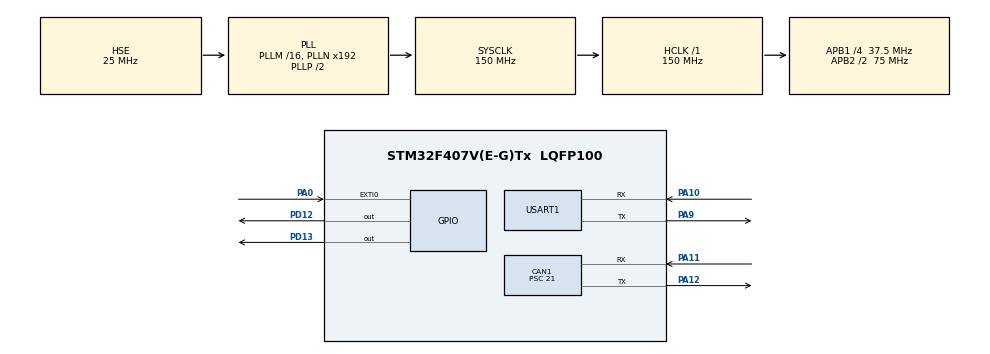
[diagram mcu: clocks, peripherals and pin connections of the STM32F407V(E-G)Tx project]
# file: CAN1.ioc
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CAN1.BS1=CAN_BS1_1TQ
CAN1.BS2=CAN_BS2_1TQ
CAN1.CalculateBaudRate=595238
CAN1.CalculateTimeBit=1680
CAN1.CalculateTimeQuantum=560.0
CAN1.Prescaler=21
Mcu.Family=STM32F4
Mcu.Name=STM32F407V(E-G)Tx
Mcu.Package=LQFP100
NVIC.CAN1_RX0_IRQn=true\:0\:0\:false\:false\:true\:true\:true\:true
NVIC.CAN1_TX_IRQn=true\:0\:0\:false\:false\:true\:true\:true\:true
NVIC.EXTI0_IRQn=true\:0\:0\:false\:false\:true\:true\:true\:true
NVIC.PriorityGroup=NVIC_PRIORITYGROUP_4
NVIC.USART1_IRQn=true\:0\:0\:false\:false\:true\:true\:true\:true
PA0-WKUP.GPIO_ModeDefaultEXTI=GPIO_MODE_IT_RISING
PA0-WKUP.Signal=GPXTI0
PA10.Mode=Asynchronous
PA10.Signal=USART1_RX
PA11.Mode=CAN_Activate
PA11.Signal=CAN1_RX
PA12.Mode=CAN_Activate
PA12.Signal=CAN1_TX
PA13.Mode=Serial_Wire
PA13.Signal=SYS_JTMS-SWDIO
PA14.Mode=Serial_Wire
PA14.Signal=SYS_JTCK-SWCLK
PA9.Mode=Asynchronous
PA9.Signal=USART1_TX
PD12.Signal=GPIO_Output
PD13.Signal=GPIO_Output
PH0-OSC_IN.Mode=HSE-External-Oscillator
PH0-OSC_IN.Signal=RCC_OSC_IN
PH1-OSC_OUT.Mode=HSE-External-Oscillator
PH1-OSC_OUT.Signal=RCC_OSC_OUT
ProjectManager.HeapSize=0x200
ProjectManager.StackSize=0x400
ProjectManager.TargetToolchain=STM32CubeIDE
RCC.48MHZClocksFreq_Value=75000000
RCC.AHBFreq_Value=150000000
RCC.APB1CLKDivider=RCC_HCLK_DIV4
RCC.APB1Freq_Value=37500000
RCC.APB1TimFreq_Value=75000000
RCC.APB2CLKDivider=RCC_HCLK_DIV2
RCC.APB2Freq_Value=75000000
RCC.APB2TimFreq_Value=150000000
RCC.CortexFreq_Value=150000000
RCC.HCLKFreq_Value=150000000
RCC.HSE_VALUE=25000000
RCC.HSI_VALUE=16000000
RCC.LSE_VALUE=32768
RCC.PLLSourceVirtual=RCC_PLLSOURCE_HSE
RCC.SYSCLKFreq_VALUE=150000000
RCC.SYSCLKSource=RCC_SYSCLKSOURCE_PLLCLK
RCC.VCOOutputFreq_Value=300000000
USART1.VirtualMode=VM_ASYNC
board=custom

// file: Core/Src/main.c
/* USER CODE BEGIN Header */
/**
  ******************************************************************************
  * @file           : main.c
  * @brief          : Main program body
  ******************************************************************************
  * @attention
  *
  * Copyright (c) 2023 STMicroelectronics.
  * All rights reserved.
  *
  * This software is licensed under terms that can be found in the LICENSE file
  * in the root directory of this software component.
  * If no LICENSE file comes with this software, it is provided AS-IS.
  *
  ******************************************************************************
  */
/* USER CODE END Header */
#include "main.h"

CAN_HandleTypeDef hcan1;

UART_HandleTypeDef huart1;

/* USER CODE BEGIN PV */
/* FORMAT OF COMMAND */
	/* CMD related to button
	 	 * syntax: ID --- 0xFF(pressed)
	 	 * example: "7EFF" ---> button of board with ID 0x7E is pressed
	 */
	/* CMD related to led
	 	 * syntax: ID --- 0x01(LED 12) / 0x02(LED 13) --- 0x01(ON) / 0x00(OFF)
	 	 * example: "7E0101" ---> board with ID 0x7E chooses led 12 to turn on
	*/

uint32_t TxMailbox;				// carry the header and data message, which will be sent to the CAN bus

CAN_RxHeaderTypeDef RxHeader;	// will be used to store the header information of other devices
CAN_TxHeaderTypeDef TxHeader;	// will be used to store the header information of this device

uint8_t TxData[8];				// is used to store transmitted data
uint8_t RxData[8];				// is used to store received data

uint8_t flagRx_CAN;				// flagRx_CAN is marked when receiving data on CAN bus
uint8_t flagRx_UART;			// flagRx_CAN is marked when receiving data on UART

uint8_t UARTbuffer[8];			// store command received from UART

uint8_t mess_request[100]  = "Board 1 sends request to ";

uint8_t mess_chooseLed12[] = "Choose LED 12\n";
uint8_t mess_chooseLed13[] = "Choose LED 13\n";

uint8_t mess_turnOn[]  = "Turn ON\n";
uint8_t mess_turnOff[] = "Turn OFF\n";

uint8_t mess_btn1[100] = "Board 1 pressed\n";
uint8_t mess_btn2[100] = "Board 2 pressed\n";
uint8_t mess_btn3[100] = "Board 3 pressed\n";
uint8_t mess_btn4[100] = "Board 4 pressed\n";
/* USER CODE END PV */

void SystemClock_Config(void);
static void MX_GPIO_Init(void);
static void MX_CAN1_Init(void);
static void MX_USART1_UART_Init(void);

/* USER CODE BEGIN 0 */
void HAL_CAN_RxFifo0MsgPendingCallback(CAN_HandleTypeDef *hcan)		/* callback when receiving data on CAN bus */
{
	HAL_CAN_GetRxMessage(&hcan1, CAN_RX_FIFO0, &RxHeader, RxData);
    flagRx_CAN = 0x01;
}

void HAL_GPIO_EXTI_Callback(uint16_t GPIO_Pin)						/* callback when button is pressed */
{
	if (GPIO_Pin == GPIO_PIN_0)
	{
		/* data is transmitted */
		TxData[0] = 0x7E;	// its own ID
		TxData[1] = 0xFF;	// button is pressed

		/* transmit message on the CAN bus */
		if (HAL_CAN_AddTxMessage(&hcan1, &TxHeader, TxData, &TxMailbox) != HAL_OK)
			Error_Handler();

		// its own monitor displays information
		HAL_UART_Transmit_IT(&huart1, mess_btn1, sizeof(mess_btn1));
	}
}

void HAL_UART_RxCpltCallback(UART_HandleTypeDef *huart)				/* callback when receiving data from its own monitor */
{
	if (huart->Instance == huart1.Instance)
	{
		HAL_UART_Receive_IT(&huart1, UARTbuffer, 3);									// active for next interrupt

		flagRx_UART = 0x01;																// mark

		if (HAL_CAN_AddTxMessage(&hcan1, &TxHeader, UARTbuffer, &TxMailbox) != HAL_OK)	// transmit that data on CAN bus
			Error_Handler();

		if (UARTbuffer[0] == 0x7E)														// control its own led
		{
			switch (UARTbuffer[1])
			{
				case 0x01: 																// choose led 12
					if (UARTbuffer[2] == 0x01)											// turn on
						HAL_GPIO_WritePin(GPIOD, GPIO_PIN_12, GPIO_PIN_SET);
					else if (UARTbuffer[2] == 0x00)										// turn off
						HAL_GPIO_WritePin(GPIOD, GPIO_PIN_12, GPIO_PIN_RESET);
					break;
				case 0x02: 																// choose led 13
					if (UARTbuffer[2] == 0x01)											// turn on
						HAL_GPIO_WritePin(GPIOD, GPIO_PIN_13, GPIO_PIN_SET);
					else if (UARTbuffer[2] == 0x00)										// turn off
						HAL_GPIO_WritePin(GPIOD, GPIO_PIN_13, GPIO_PIN_RESET);
					break;
			}
		}
	}
}

void NotifyLed(void)		/* display information about led of other devices on the monitor */
{
	HAL_Delay(200);
	if (RxData[1] == 0x01)
		HAL_UART_Transmit_IT(&huart1, mess_chooseLed12, sizeof(mess_chooseLed12));
	else if (RxData[1] == 0x02)
		HAL_UART_Transmit_IT(&huart1, mess_chooseLed13, sizeof(mess_chooseLed13));

	HAL_Delay(200);
	if (RxData[2] == 0x01)
		HAL_UART_Transmit_IT(&huart1, mess_turnOn, sizeof(mess_turnOn));
	else if (RxData[2] == 0x00)
		HAL_UART_Transmit_IT(&huart1, mess_turnOff, sizeof(mess_turnOff));
}

void ActiveLed(void)		/* display information and control its own led on the monitor */
{
	switch (RxData[1])
	{
		case 0x01:
			HAL_Delay(200);
			HAL_UART_Transmit_IT(&huart1, mess_chooseLed12, sizeof(mess_chooseLed12));

			HAL_Delay(200);
			if (RxData[2] == 0x01) {
				HAL_GPIO_WritePin(GPIOD, GPIO_PIN_12, GPIO_PIN_SET);
				HAL_UART_Transmit_IT(&huart1, mess_turnOn, sizeof(mess_turnOn));
			}
			else if(RxData[2] == 0x00) {
				HAL_GPIO_WritePin(GPIOD, GPIO_PIN_12, GPIO_PIN_RESET);
				HAL_UART_Transmit_IT(&huart1, mess_turnOff, sizeof(mess_turnOff));
			}
			break;

		case 0x02:
			HAL_Delay(200);
			HAL_UART_Transmit_IT(&huart1, mess_chooseLed13, sizeof(mess_chooseLed13));

			HAL_Delay(200);
			if (RxData[2] == 0x01) {
				HAL_GPIO_WritePin(GPIOD, GPIO_PIN_13, GPIO_PIN_SET);
				HAL_UART_Transmit_IT(&huart1, mess_turnOn, sizeof(mess_turnOn));
			}
			else if (RxData[2] == 0x00) {
				HAL_GPIO_WritePin(GPIOD, GPIO_PIN_13, GPIO_PIN_RESET);
				HAL_UART_Transmit_IT(&huart1, mess_turnOff, sizeof(mess_turnOff));
			}
			break;
	}
}
/* USER CODE END 0 */

int main(void)
{
  /* USER CODE BEGIN 1 */
	TxHeader.StdId = 0x7E;
	TxHeader.DLC = 8;
	TxHeader.IDE = CAN_ID_STD;
	TxHeader.RTR = CAN_RTR_DATA;
  /* USER CODE END 1 */

  /* MCU Configuration--------------------------------------------------------*/

  /* Reset of all peripherals, Initializes the Flash interface and the Systick. */
  HAL_Init();

  /* Configure the system clock */
  SystemClock_Config();

  /* Initialize all configured peripherals */
  MX_GPIO_Init();
  MX_CAN1_Init();
  MX_USART1_UART_Init();
  /* USER CODE BEGIN 2 */
  HAL_CAN_Start(&hcan1);												// start the CAN

  HAL_CAN_ActivateNotification(&hcan1, CAN_IT_RX_FIFO0_MSG_PENDING);	// activate notification of receiving data

  HAL_UART_Receive_IT(&huart1, UARTbuffer, 3);							// receive data from its own monitor
  /* USER CODE END 2 */

  /* Infinite loop */
  /* USER CODE BEGIN WHILE */
  while (1)
  {
	  /* ------------------------- when receiving data on UART ------------------------- */
	  if (flagRx_UART == 0x01)
	  {
		  HAL_UART_Transmit_IT(&huart1, mess_request, sizeof(mess_request));		// this device sends request to other ones
		  HAL_Delay(200);

		  if (UARTbuffer[0] == 0x7E) {												/* select device */
			  uint8_t mess[] = "Board 1\n";
			  HAL_UART_Transmit_IT(&huart1, mess, sizeof(mess));
		  }
		  else if (UARTbuffer[0] == 0x8E) {
			  uint8_t mess[] = "Board 2\n";
			  HAL_UART_Transmit_IT(&huart1, mess, sizeof(mess));
		  }
		  else if (UARTbuffer[0] == 0x9E) {
			  uint8_t mess[] = "Board 3\n";
			  HAL_UART_Transmit_IT(&huart1, mess, sizeof(mess));
		  }
		  else if (UARTbuffer[0] == 0x6E) {
			  uint8_t mess[] = "Board 4\n";
			  HAL_UART_Transmit_IT(&huart1, mess, sizeof(mess));
		  }
		  HAL_Delay(100);

		  if (UARTbuffer[1] == 0x01)												/* display info of chosen led */
			  HAL_UART_Transmit_IT(&huart1, mess_chooseLed12, sizeof(mess_chooseLed12));
		  else if (UARTbuffer[1] == 0x02)
			  HAL_UART_Transmit_IT(&huart1, mess_chooseLed13, sizeof(mess_chooseLed13));
		  HAL_Delay(100);

		  if (UARTbuffer[2] == 0x01)												/* display info of action */
			  HAL_UART_Transmit_IT(&huart1, mess_turnOn, sizeof(mess_turnOn));
		  else if (UARTbuffer[2] == 0x00)
			  HAL_UART_Transmit_IT(&huart1, mess_turnOff, sizeof(mess_turnOff));

		  flagRx_UART = 0;															// clear flag
	  }

	  /* ------------------------- when receiving data on CAN bus ------------------------- */
	  if (flagRx_CAN == 0x01)
	  {
		  /* ---------------- handle command related to led ---------------- */
		  if (RxData[1] != 0xFF)
		  {
			  if (RxHeader.StdId == 0x7E) {							/* display info of device which sends request */
				  uint8_t mess[] = "Board 1 sends request to ";
				  HAL_UART_Transmit_IT(&huart1, mess, sizeof(mess));
			  }
			  else if (RxHeader.StdId == 0x8E) {
				  uint8_t mess[] = "Board 2 sends request to ";
				  HAL_UART_Transmit_IT(&huart1, mess, sizeof(mess));
			  }
			  else if (RxHeader.StdId == 0x9E) {
				  uint8_t mess[] = "Board 3 sends request to ";
				  HAL_UART_Transmit_IT(&huart1, mess, sizeof(mess));
			  }
			  else if (RxHeader.StdId == 0x6E) {
				  uint8_t mess[] = "Board 4 sends request to ";
				  HAL_UART_Transmit_IT(&huart1, mess, sizeof(mess));
			  }
			  HAL_Delay(200);

			  if (RxData[0] == 0x7E) {								/* display info of device which is received request */
				  uint8_t mess[] = "Board 1\n";
				  HAL_UART_Transmit_IT(&huart1, mess, sizeof(mess));
				  ActiveLed();										// control its own led and display info
			  }
			  else if (RxData[0] == 0x8E) {
				  uint8_t mess[] = "Board 2\n";
				  HAL_UART_Transmit_IT(&huart1, mess, sizeof(mess));
				  NotifyLed();										// don't care, just only display info
			  }
			  else if (RxData[0] == 0x9E) {
				  uint8_t mess[] = "Board 3\n";
				  HAL_UART_Transmit_IT(&huart1, mess, sizeof(mess));
				  NotifyLed();										// don't care, just only display info
			  }
			  else if (RxData[0] == 0x6E) {
				  uint8_t mess[] = "Board 4\n";
				  HAL_UART_Transmit_IT(&huart1, mess, sizeof(mess));
				  NotifyLed();										// don't care, just only display info
			  }
			  HAL_Delay(100);
		  }

		  /* ---------------- handle command related to button ---------------- */
		  else
		  {
			  switch (RxData[0]) 									/* display info of device whose button is pressed */
			  {
				  case 0x7E:
					  if (RxData[1] == 0xFF)
						  HAL_UART_Transmit_IT(&huart1, mess_btn1, sizeof(mess_btn1));
					  break;
				  case 0x8E:
					  if (RxData[1] == 0xFF)
						  HAL_UART_Transmit_IT(&huart1, mess_btn2, sizeof(mess_btn2));
					  break;
				  case 0x9E:
					  if (RxData[1] == 0xFF)
						  HAL_UART_Transmit_IT(&huart1, mess_btn3, sizeof(mess_btn3));
					  break;
				  case 0x6E:
					  if (RxData[1] == 0xFF)
						  HAL_UART_Transmit_IT(&huart1, mess_btn4, sizeof(mess_btn4));
					  break;
			  }
		  }

		  flagRx_CAN = 0;											// clear flag
	  }
    /* USER CODE END WHILE */

  }
}

void SystemClock_Config(void)
{
  RCC_OscInitTypeDef RCC_OscInitStruct = {0};
  RCC_ClkInitTypeDef RCC_ClkInitStruct = {0};

  /** Configure the main internal regulator output voltage
  */
  __HAL_RCC_PWR_CLK_ENABLE();
  __HAL_PWR_VOLTAGESCALING_CONFIG(PWR_REGULATOR_VOLTAGE_SCALE1);

  /** Initializes the RCC Oscillators according to the specified parameters
  * in the RCC_OscInitTypeDef structure.
  */
  RCC_OscInitStruct.OscillatorType = RCC_OSCILLATORTYPE_HSE;
  RCC_OscInitStruct.HSEState = RCC_HSE_ON;
  RCC_OscInitStruct.PLL.PLLState = RCC_PLL_ON;
  RCC_OscInitStruct.PLL.PLLSource = RCC_PLLSOURCE_HSE;
  RCC_OscInitStruct.PLL.PLLM = 16;
  RCC_OscInitStruct.PLL.PLLN = 192;
  RCC_OscInitStruct.PLL.PLLP = RCC_PLLP_DIV2;
  RCC_OscInitStruct.PLL.PLLQ = 4;
  if (HAL_RCC_OscConfig(&RCC_OscInitStruct) != HAL_OK)
  {
    Error_Handler();
  }

  /** Initializes the CPU, AHB and APB buses clocks
  */
  RCC_ClkInitStruct.ClockType = RCC_CLOCKTYPE_HCLK|RCC_CLOCKTYPE_SYSCLK
                              |RCC_CLOCKTYPE_PCLK1|RCC_CLOCKTYPE_PCLK2;
  RCC_ClkInitStruct.SYSCLKSource = RCC_SYSCLKSOURCE_PLLCLK;
  RCC_ClkInitStruct.AHBCLKDivider = RCC_SYSCLK_DIV1;
  RCC_ClkInitStruct.APB1CLKDivider = RCC_HCLK_DIV4;
  RCC_ClkInitStruct.APB2CLKDivider = RCC_HCLK_DIV2;

  if (HAL_RCC_ClockConfig(&RCC_ClkInitStruct, FLASH_LATENCY_4) != HAL_OK)
  {
    Error_Handler();
  }
}

static void MX_CAN1_Init(void)
{

  hcan1.Instance = CAN1;
  hcan1.Init.Prescaler = 21;
  hcan1.Init.Mode = CAN_MODE_NORMAL;
  hcan1.Init.SyncJumpWidth = CAN_SJW_1TQ;
  hcan1.Init.TimeSeg1 = CAN_BS1_1TQ;
  hcan1.Init.TimeSeg2 = CAN_BS2_1TQ;
  hcan1.Init.TimeTriggeredMode = DISABLE;
  hcan1.Init.AutoBusOff = DISABLE;
  hcan1.Init.AutoWakeUp = DISABLE;
  hcan1.Init.AutoRetransmission = DISABLE;
  hcan1.Init.ReceiveFifoLocked = DISABLE;
  hcan1.Init.TransmitFifoPriority = DISABLE;
  if (HAL_CAN_Init(&hcan1) != HAL_OK)
  {
    Error_Handler();
  }
  /* USER CODE BEGIN CAN1_Init 2 */
  CAN_FilterTypeDef canfilterconfig;

  canfilterconfig.FilterActivation = CAN_FILTER_ENABLE;
  canfilterconfig.FilterBank = 0;							// use for the filter Process
  canfilterconfig.FilterFIFOAssignment = CAN_FILTER_FIFO0;	// use for the Receive message
  canfilterconfig.FilterIdHigh = 0x0000;
  canfilterconfig.FilterIdLow = 0;
  canfilterconfig.FilterMaskIdHigh = 0x0000;				// do not compare any bits -> get all
  canfilterconfig.FilterMaskIdLow = 0x0000;
  canfilterconfig.FilterMode = CAN_FILTERMODE_IDMASK;
  canfilterconfig.FilterScale = CAN_FILTERSCALE_32BIT;
  canfilterconfig.SlaveStartFilterBank = 20;				// 20-th -> 27-th bank is assigned to CAN 2 (total 28 banks for 2 CANs)

  if (HAL_CAN_ConfigFilter(&hcan1, &canfilterconfig) != HAL_OK)
  {
	  Error_Handler();
  }
  /* USER CODE END CAN1_Init 2 */

}

static void MX_USART1_UART_Init(void)
{

  huart1.Instance = USART1;
  huart1.Init.BaudRate = 115200;
  huart1.Init.WordLength = UART_WORDLENGTH_8B;
  huart1.Init.StopBits = UART_STOPBITS_1;
  huart1.Init.Parity = UART_PARITY_NONE;
  huart1.Init.Mode = UART_MODE_TX_RX;
  huart1.Init.HwFlowCtl = UART_HWCONTROL_NONE;
  huart1.Init.OverSampling = UART_OVERSAMPLING_16;
  if (HAL_UART_Init(&huart1) != HAL_OK)
  {
    Error_Handler();
  }

}

static void MX_GPIO_Init(void)
{
  GPIO_InitTypeDef GPIO_InitStruct = {0};

  /* GPIO Ports Clock Enable */
  __HAL_RCC_GPIOH_CLK_ENABLE();
  __HAL_RCC_GPIOA_CLK_ENABLE();
  __HAL_RCC_GPIOD_CLK_ENABLE();

  /*Configure GPIO pin Output Level */
  HAL_GPIO_WritePin(GPIOD, GPIO_PIN_12|GPIO_PIN_13, GPIO_PIN_RESET);

  /*Configure GPIO pin : PA0 */
  GPIO_InitStruct.Pin = GPIO_PIN_0;
  GPIO_InitStruct.Mode = GPIO_MODE_IT_RISING;
  GPIO_InitStruct.Pull = GPIO_NOPULL;
  HAL_GPIO_Init(GPIOA, &GPIO_InitStruct);

  /*Configure GPIO pins : PD12 PD13 */
  GPIO_InitStruct.Pin = GPIO_PIN_12|GPIO_PIN_13;
  GPIO_InitStruct.Mode = GPIO_MODE_OUTPUT_PP;
  GPIO_InitStruct.Pull = GPIO_NOPULL;
  GPIO_InitStruct.Speed = GPIO_SPEED_FREQ_LOW;
  HAL_GPIO_Init(GPIOD, &GPIO_InitStruct);

  /* EXTI interrupt init*/
  HAL_NVIC_SetPriority(EXTI0_IRQn, 0, 0);
  HAL_NVIC_EnableIRQ(EXTI0_IRQn);

}

void Error_Handler(void)
{
  __disable_irq();
  while (1)
  {
  }
}
